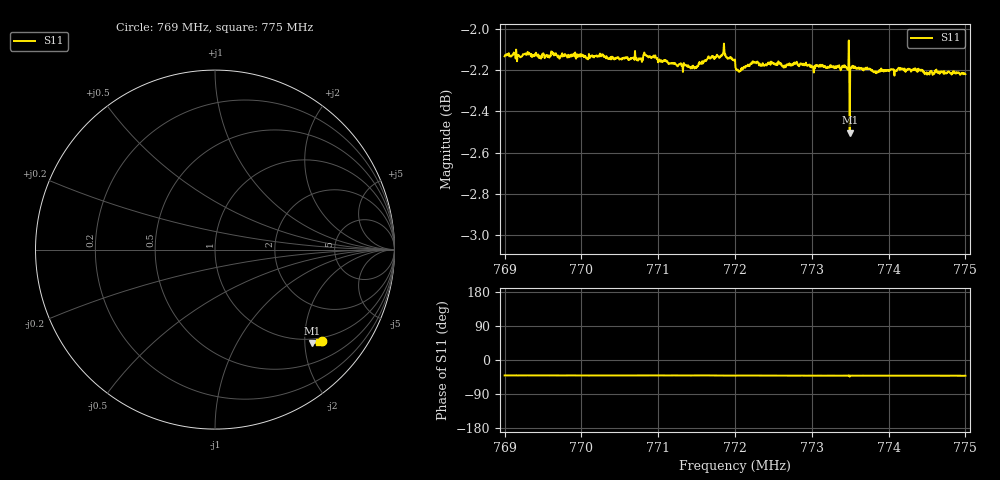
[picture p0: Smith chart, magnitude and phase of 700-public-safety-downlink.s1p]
! Calibrated averaged scanner-service zoom
# Hz S RI R 50
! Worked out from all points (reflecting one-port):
!   1001 points, 769 MHz to 775 MHz, reference 50 ohm
!   lowest |S11| = -2.5 dB at 773.494 MHz (marker M1), VSWR 6.99, Z = 45.5 - j108 ohm
!   phase of S11 starts at -41 deg and turns -1 deg over the sweep
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7.69e8  0.5935 -0.5097
7.6975e8  0.5927 -0.5127
7.705e8  0.5906 -0.5113
7.70722e8  0.5899 -0.5115
7.7095e8  0.5924 -0.5102
7.7125e8  0.5889 -0.5085
7.71442e8  0.588 -0.5081
7.7149e8  0.589 -0.5074
7.71682e8  0.592 -0.5106
7.71868e8  0.59 -0.5148
7.72e8  0.5879 -0.5141
7.72048e8  0.5856 -0.509
7.72228e8  0.5886 -0.5119
7.7275e8  0.5862 -0.5127
7.73008e8  0.5847 -0.5133
7.73446e8  0.5837 -0.5137
7.73452e8  0.584 -0.5134
7.73458e8  0.5834 -0.5133
7.73464e8  0.5834 -0.5125
7.73494e8  0.5399 -0.5199
7.735e8  0.5839 -0.5132
7.73524e8  0.5841 -0.5139
7.7353e8  0.584 -0.5143
7.73542e8  0.5834 -0.5137
7.7383e8  0.5823 -0.5116
7.7425e8  0.5825 -0.5139
7.7449e8  0.581 -0.5131
7.75e8  0.5795 -0.514
